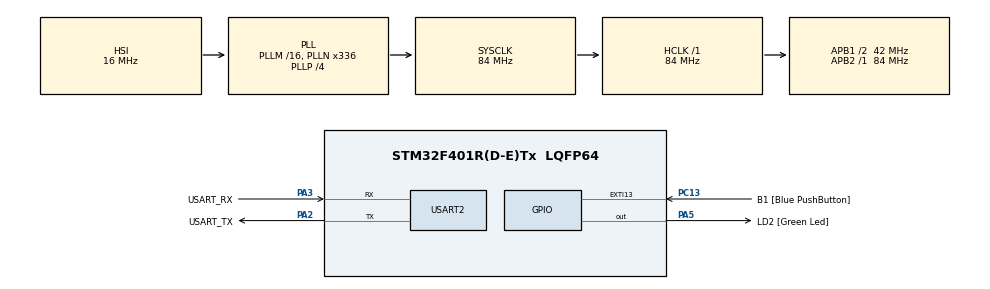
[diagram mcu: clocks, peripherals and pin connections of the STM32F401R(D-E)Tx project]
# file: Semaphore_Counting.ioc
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FREERTOS.CountingSemaphores01=CountingSem,2,Dynamic,NULL
FREERTOS.Tasks01=Thread1,0,128,Thread1Func,Default,NULL,Dynamic,NULL,NULL;Thread2,0,128,Thread2Func,Default,NULL,Dynamic,NULL,NULL;Thread3,0,128,Thread3Func,Default,NULL,Dynamic,NULL,NULL
FREERTOS.configUSE_COUNTING_SEMAPHORES=1
FREERTOS.configUSE_TIMERS=0
Mcu.Family=STM32F4
Mcu.Name=STM32F401R(D-E)Tx
Mcu.Package=LQFP64
NVIC.EXTI15_10_IRQn=true\:5\:0\:false\:false\:true\:true\:true\:true
NVIC.PriorityGroup=NVIC_PRIORITYGROUP_4
NVIC.TIM1_TRG_COM_TIM11_IRQn=true\:0\:0\:false\:false\:true\:false\:false\:true
NVIC.TimeBase=TIM1_TRG_COM_TIM11_IRQn
NVIC.TimeBaseIP=TIM11
PA13.GPIO_Label=TMS
PA13.Mode=Trace_Asynchronous_SW
PA13.Signal=SYS_JTMS-SWDIO
PA14.GPIO_Label=TCK
PA14.Mode=Trace_Asynchronous_SW
PA14.Signal=SYS_JTCK-SWCLK
PA2.GPIO_Label=USART_TX
PA2.GPIO_Mode=GPIO_MODE_AF_PP
PA2.GPIO_PuPd=GPIO_NOPULL
PA2.GPIO_Speed=GPIO_SPEED_FREQ_LOW
PA2.Mode=Asynchronous
PA2.Signal=USART2_TX
PA3.GPIO_Label=USART_RX
PA3.GPIO_Mode=GPIO_MODE_AF_PP
PA3.GPIO_PuPd=GPIO_NOPULL
PA3.GPIO_Speed=GPIO_SPEED_FREQ_LOW
PA3.Mode=Asynchronous
PA3.Signal=USART2_RX
PA5.GPIO_Label=LD2 [Green Led]
PA5.GPIO_Mode=GPIO_MODE_OUTPUT_PP
PA5.GPIO_PuPd=GPIO_NOPULL
PA5.GPIO_Speed=GPIO_SPEED_FREQ_LOW
PA5.Signal=GPIO_Output
PB3.GPIO_Label=SWO
PB3.Mode=Trace_Asynchronous_SW
PB3.Signal=SYS_JTDO-SWO
PC13-ANTI_TAMP.GPIO_Label=B1 [Blue PushButton]
PC13-ANTI_TAMP.GPIO_ModeDefaultEXTI=GPIO_MODE_IT_FALLING
PC13-ANTI_TAMP.GPIO_PuPd=GPIO_NOPULL
PC13-ANTI_TAMP.Signal=GPXTI13
PC14-OSC32_IN.Mode=LSE-External-Oscillator
PC14-OSC32_IN.Signal=RCC_OSC32_IN
PC15-OSC32_OUT.Mode=LSE-External-Oscillator
PC15-OSC32_OUT.Signal=RCC_OSC32_OUT
PH0\ -\ OSC_IN.Mode=HSE-External-Clock-Source
PH0\ -\ OSC_IN.Signal=RCC_OSC_IN
PH1\ -\ OSC_OUT.Mode=HSE-External-Clock-Source
PH1\ -\ OSC_OUT.Signal=RCC_OSC_OUT
ProjectManager.HeapSize=0x200
ProjectManager.StackSize=0x400
ProjectManager.TargetToolchain=STM32CubeIDE
RCC.48MHZClocksFreq_Value=48000000
RCC.AHBFreq_Value=84000000
RCC.APB1CLKDivider=RCC_HCLK_DIV2
RCC.APB1Freq_Value=42000000
RCC.APB1TimFreq_Value=84000000
RCC.APB2Freq_Value=84000000
RCC.APB2TimFreq_Value=84000000
RCC.CortexFreq_Value=84000000
RCC.HCLKFreq_Value=84000000
RCC.HSE_VALUE=8000000
RCC.HSI_VALUE=16000000
RCC.PLLN=336
RCC.PLLP=RCC_PLLP_DIV4
RCC.PLLQ=7
RCC.SYSCLKFreq_VALUE=84000000
RCC.SYSCLKSource=RCC_SYSCLKSOURCE_PLLCLK
RCC.VCOOutputFreq_Value=336000000
USART2.VirtualMode=VM_ASYNC
VP_FREERTOS_VS_CMSIS_V1.Mode=CMSIS_V1
VP_SYS_VS_tim11.Mode=TIM11
board=NUCLEO-F401RE

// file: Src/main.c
/* USER CODE BEGIN Header */
/**
  ******************************************************************************
  * @file           : main.c
  * @brief          : Main program body
  ******************************************************************************
  * @attention
  *
  * <h2><center>&copy; Copyright (c) 2019 STMicroelectronics.
  * All rights reserved.</center></h2>
  *
  * This software component is licensed by ST under BSD 3-Clause license,
  * the "License"; You may not use this file except in compliance with the
  * License. You may obtain a copy of the License at:
  *                        opensource.org/licenses/BSD-3-Clause
  *
  ******************************************************************************
  */
/* USER CODE END Header */

#include "main.h"
#include "cmsis_os.h"

/* USER CODE BEGIN Includes */
#include "stdio.h"
/* USER CODE END Includes */

UART_HandleTypeDef huart2;

osThreadId Thread1Handle;
osThreadId Thread2Handle;
osThreadId Thread3Handle;
osSemaphoreId CountingSemHandle;

void SystemClock_Config(void);
static void MX_GPIO_Init(void);
static void MX_USART2_UART_Init(void);
void Thread1Func(void const * argument);
void Thread2Func(void const * argument);
void Thread3Func(void const * argument);

/* USER CODE BEGIN 0 */
uint32_t interval = 1000;
/* USER CODE END 0 */

int main(void)
{

  /* MCU Configuration--------------------------------------------------------*/

  /* Reset of all peripherals, Initializes the Flash interface and the Systick. */
  HAL_Init();

  /* Configure the system clock */
  SystemClock_Config();

  /* Initialize all configured peripherals */
  MX_GPIO_Init();
  MX_USART2_UART_Init();

  /* Create the semaphores(s) */
  /* definition and creation of CountingSem */
  osSemaphoreDef(CountingSem);
  CountingSemHandle = osSemaphoreCreate(osSemaphore(CountingSem), 2);

  /* Create the thread(s) */
  /* definition and creation of Thread1 */
  osThreadDef(Thread1, Thread1Func, osPriorityNormal, 0, 128);
  Thread1Handle = osThreadCreate(osThread(Thread1), NULL);

  /* definition and creation of Thread2 */
  osThreadDef(Thread2, Thread2Func, osPriorityNormal, 0, 128);
  Thread2Handle = osThreadCreate(osThread(Thread2), NULL);

  /* definition and creation of Thread3 */
  osThreadDef(Thread3, Thread3Func, osPriorityNormal, 0, 128);
  Thread3Handle = osThreadCreate(osThread(Thread3), NULL);

  /* Start scheduler */
  osKernelStart();

  /* We should never get here as control is now taken by the scheduler */

  /* Infinite loop */
  while (1)
  {

  }
}

void SystemClock_Config(void)
{
  RCC_OscInitTypeDef RCC_OscInitStruct = {0};
  RCC_ClkInitTypeDef RCC_ClkInitStruct = {0};

  /** Configure the main internal regulator output voltage
  */
  __HAL_RCC_PWR_CLK_ENABLE();
  __HAL_PWR_VOLTAGESCALING_CONFIG(PWR_REGULATOR_VOLTAGE_SCALE2);
  /** Initializes the CPU, AHB and APB busses clocks
  */
  RCC_OscInitStruct.OscillatorType = RCC_OSCILLATORTYPE_HSI;
  RCC_OscInitStruct.HSIState = RCC_HSI_ON;
  RCC_OscInitStruct.HSICalibrationValue = RCC_HSICALIBRATION_DEFAULT;
  RCC_OscInitStruct.PLL.PLLState = RCC_PLL_ON;
  RCC_OscInitStruct.PLL.PLLSource = RCC_PLLSOURCE_HSI;
  RCC_OscInitStruct.PLL.PLLM = 16;
  RCC_OscInitStruct.PLL.PLLN = 336;
  RCC_OscInitStruct.PLL.PLLP = RCC_PLLP_DIV4;
  RCC_OscInitStruct.PLL.PLLQ = 7;
  if (HAL_RCC_OscConfig(&RCC_OscInitStruct) != HAL_OK)
  {
    Error_Handler();
  }
  /** Initializes the CPU, AHB and APB busses clocks
  */
  RCC_ClkInitStruct.ClockType = RCC_CLOCKTYPE_HCLK|RCC_CLOCKTYPE_SYSCLK
                              |RCC_CLOCKTYPE_PCLK1|RCC_CLOCKTYPE_PCLK2;
  RCC_ClkInitStruct.SYSCLKSource = RCC_SYSCLKSOURCE_PLLCLK;
  RCC_ClkInitStruct.AHBCLKDivider = RCC_SYSCLK_DIV1;
  RCC_ClkInitStruct.APB1CLKDivider = RCC_HCLK_DIV2;
  RCC_ClkInitStruct.APB2CLKDivider = RCC_HCLK_DIV1;

  if (HAL_RCC_ClockConfig(&RCC_ClkInitStruct, FLASH_LATENCY_2) != HAL_OK)
  {
    Error_Handler();
  }
}

static void MX_USART2_UART_Init(void)
{

  huart2.Instance = USART2;
  huart2.Init.BaudRate = 115200;
  huart2.Init.WordLength = UART_WORDLENGTH_8B;
  huart2.Init.StopBits = UART_STOPBITS_1;
  huart2.Init.Parity = UART_PARITY_NONE;
  huart2.Init.Mode = UART_MODE_TX_RX;
  huart2.Init.HwFlowCtl = UART_HWCONTROL_NONE;
  huart2.Init.OverSampling = UART_OVERSAMPLING_16;
  if (HAL_UART_Init(&huart2) != HAL_OK)
  {
    Error_Handler();
  }

}

static void MX_GPIO_Init(void)
{
  GPIO_InitTypeDef GPIO_InitStruct = {0};

  /* GPIO Ports Clock Enable */
  __HAL_RCC_GPIOC_CLK_ENABLE();
  __HAL_RCC_GPIOH_CLK_ENABLE();
  __HAL_RCC_GPIOA_CLK_ENABLE();
  __HAL_RCC_GPIOB_CLK_ENABLE();

  /*Configure GPIO pin Output Level */
  HAL_GPIO_WritePin(LD2_GPIO_Port, LD2_Pin, GPIO_PIN_RESET);

  /*Configure GPIO pin : B1_Pin */
  GPIO_InitStruct.Pin = B1_Pin;
  GPIO_InitStruct.Mode = GPIO_MODE_IT_FALLING;
  GPIO_InitStruct.Pull = GPIO_NOPULL;
  HAL_GPIO_Init(B1_GPIO_Port, &GPIO_InitStruct);

  /*Configure GPIO pin : LD2_Pin */
  GPIO_InitStruct.Pin = LD2_Pin;
  GPIO_InitStruct.Mode = GPIO_MODE_OUTPUT_PP;
  GPIO_InitStruct.Pull = GPIO_NOPULL;
  GPIO_InitStruct.Speed = GPIO_SPEED_FREQ_LOW;
  HAL_GPIO_Init(LD2_GPIO_Port, &GPIO_InitStruct);

  /* EXTI interrupt init*/
  HAL_NVIC_SetPriority(EXTI15_10_IRQn, 5, 0);
  HAL_NVIC_EnableIRQ(EXTI15_10_IRQn);

}

void Thread1Func(void const * argument)
{

  /* USER CODE BEGIN 5 */
  /* Infinite loop */
  for(;;)
  {
    if (osSemaphoreWait(CountingSemHandle, osWaitForever) == osOK) {
      for (uint16_t i = 0; i < 10; i++) {
        HAL_GPIO_TogglePin(LD2_GPIO_Port, LD2_Pin);
        osDelay(200);
      }
    }
    osSemaphoreRelease(CountingSemHandle);
    osThreadYield();
  }
  /* USER CODE END 5 */
}

void Thread2Func(void const * argument)
{
  /* USER CODE BEGIN Thread2Func */
  /* Infinite loop */
  for(;;)
  {
    if (osSemaphoreWait(CountingSemHandle, osWaitForever) == osOK) {
      for (uint16_t i = 0; i < 10; i++) {
        HAL_GPIO_WritePin(LD2_GPIO_Port, LD2_Pin, GPIO_PIN_SET);
        osDelay(50);
      }
    }
    osSemaphoreRelease(CountingSemHandle);
    osThreadYield();
  }
  /* USER CODE END Thread2Func */
}

void Thread3Func(void const * argument)
{
  /* USER CODE BEGIN Thread3Func */
  /* Infinite loop */
  for(;;)
  {
    if (osSemaphoreWait(CountingSemHandle, osWaitForever) == osOK) {
      for (uint16_t i = 0; i < 10; i++) {
        HAL_GPIO_WritePin(LD2_GPIO_Port, LD2_Pin, GPIO_PIN_RESET);
        osDelay(100);
      }
    }
    osSemaphoreRelease(CountingSemHandle);
    osThreadYield();
  }
  /* USER CODE END Thread3Func */
}

void HAL_TIM_PeriodElapsedCallback(TIM_HandleTypeDef *htim)
{
  if (htim->Instance == TIM11) {
    HAL_IncTick();
  }
}

void Error_Handler(void)
{
}

/************************ (C) COPYRIGHT STMicroelectronics *****END OF FILE****/
